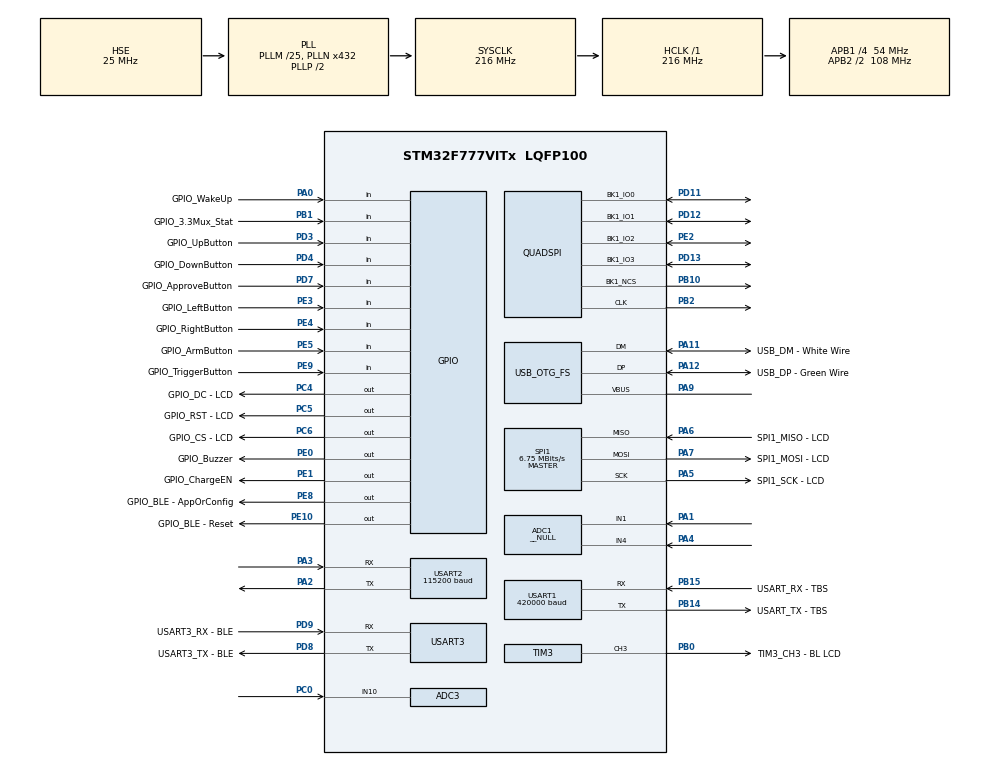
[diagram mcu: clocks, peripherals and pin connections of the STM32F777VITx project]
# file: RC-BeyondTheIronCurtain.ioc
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ADC1.Channel-0\#ChannelRegularConversion=ADC_CHANNEL_1
ADC1.ContinuousConvMode=DISABLE
ADC1.DMAContinuousRequests=DISABLE
ADC1.EOCSelection=ADC_EOC_SINGLE_CONV
ADC1.Mode=__NULL
ADC1.NbrOfConversion=1
ADC1.NbrOfConversionFlag=1
ADC1.Rank-0\#ChannelRegularConversion=1
ADC1.SamplingTime-0\#ChannelRegularConversion=ADC_SAMPLETIME_15CYCLES
ADC1.ScanConvMode=ADC_SCAN_ENABLE
ADC1.master=1
ADC3.Channel-2\#ChannelRegularConversion=ADC_CHANNEL_10
ADC3.EOCSelection=ADC_EOC_SINGLE_CONV
ADC3.NbrOfConversionFlag=1
ADC3.Rank-2\#ChannelRegularConversion=1
ADC3.SamplingTime-2\#ChannelRegularConversion=ADC_SAMPLETIME_15CYCLES
ADC3.ScanConvMode=ADC_SCAN_ENABLE
Dma.Request0=USART2_RX
Dma.Request1=USART3_RX
Dma.Request2=USART1_RX
Dma.USART1_RX.2.Direction=DMA_PERIPH_TO_MEMORY
Dma.USART1_RX.2.FIFOMode=DMA_FIFOMODE_DISABLE
Dma.USART1_RX.2.Instance=DMA2_Stream2
Dma.USART1_RX.2.MemDataAlignment=DMA_MDATAALIGN_BYTE
Dma.USART1_RX.2.MemInc=DMA_MINC_ENABLE
Dma.USART1_RX.2.Mode=DMA_CIRCULAR
Dma.USART1_RX.2.PeriphDataAlignment=DMA_PDATAALIGN_BYTE
Dma.USART1_RX.2.PeriphInc=DMA_PINC_DISABLE
Dma.USART1_RX.2.Priority=DMA_PRIORITY_VERY_HIGH
Dma.USART2_RX.0.Direction=DMA_PERIPH_TO_MEMORY
Dma.USART2_RX.0.FIFOMode=DMA_FIFOMODE_DISABLE
Dma.USART2_RX.0.Instance=DMA1_Stream5
Dma.USART2_RX.0.MemDataAlignment=DMA_MDATAALIGN_BYTE
Dma.USART2_RX.0.MemInc=DMA_MINC_ENABLE
Dma.USART2_RX.0.Mode=DMA_CIRCULAR
Dma.USART2_RX.0.PeriphDataAlignment=DMA_PDATAALIGN_BYTE
Dma.USART2_RX.0.PeriphInc=DMA_PINC_DISABLE
Dma.USART2_RX.0.Priority=DMA_PRIORITY_VERY_HIGH
Dma.USART3_RX.1.Direction=DMA_PERIPH_TO_MEMORY
Dma.USART3_RX.1.FIFOMode=DMA_FIFOMODE_DISABLE
Dma.USART3_RX.1.Instance=DMA1_Stream1
Dma.USART3_RX.1.MemDataAlignment=DMA_MDATAALIGN_BYTE
Dma.USART3_RX.1.MemInc=DMA_MINC_ENABLE
Dma.USART3_RX.1.Mode=DMA_CIRCULAR
Dma.USART3_RX.1.PeriphDataAlignment=DMA_PDATAALIGN_BYTE
Dma.USART3_RX.1.PeriphInc=DMA_PINC_DISABLE
Dma.USART3_RX.1.Priority=DMA_PRIORITY_LOW
FATFS._FS_EXFAT=1
FATFS._FS_RPATH=1
FATFS._MAX_SS=4096
FATFS._MIN_SS=4096
FATFS._USE_CHMOD=1
FATFS._USE_FIND=1
FATFS._USE_LABEL=1
FATFS._USE_LFN=1
Mcu.Family=STM32F7
Mcu.Name=STM32F777VITx
Mcu.Package=LQFP100
NVIC.ADC_IRQn=true\:0\:0\:false\:false\:true\:true\:true
NVIC.DMA1_Stream1_IRQn=true\:0\:0\:false\:false\:true\:false\:true
NVIC.DMA1_Stream5_IRQn=true\:0\:0\:false\:false\:true\:false\:true
NVIC.DMA2_Stream2_IRQn=true\:0\:0\:false\:false\:true\:false\:true
NVIC.FLASH_IRQn=true\:0\:0\:false\:false\:true\:true\:true
NVIC.OTG_FS_IRQn=true\:0\:0\:false\:false\:true\:false\:true
NVIC.PriorityGroup=NVIC_PRIORITYGROUP_4
NVIC.SPI1_IRQn=true\:0\:0\:false\:false\:true\:true\:true
NVIC.TIM3_IRQn=true\:0\:0\:false\:false\:true\:true\:true
NVIC.USART1_IRQn=true\:0\:0\:false\:false\:true\:true\:true
NVIC.USART3_IRQn=true\:0\:0\:false\:false\:true\:true\:true
PA0/WKUP.GPIO_Label=GPIO_WakeUp
PA0/WKUP.GPIO_PuPd=GPIO_PULLUP
PA0/WKUP.Signal=GPIO_Input
PA1.Signal=ADCx_IN1
PA11.GPIO_Label=USB_DM - White Wire
PA11.Mode=Device_Only
PA11.Signal=USB_OTG_FS_DM
PA12.GPIO_Label=USB_DP - Green Wire
PA12.Mode=Device_Only
PA12.Signal=USB_OTG_FS_DP
PA13.Mode=Serial_Wire
PA13.Signal=SYS_JTMS-SWDIO
PA14.Mode=Serial_Wire
PA14.Signal=SYS_JTCK-SWCLK
PA2.Mode=Asynchronous
PA2.Signal=USART2_TX
PA3.Mode=Asynchronous
PA3.Signal=USART2_RX
PA4.Signal=ADCx_IN4
PA5.GPIO_Label=SPI1_SCK - LCD
PA5.Mode=Full_Duplex_Master
PA5.Signal=SPI1_SCK
PA6.GPIO_Label=SPI1_MISO - LCD
PA6.Mode=Full_Duplex_Master
PA6.Signal=SPI1_MISO
PA7.GPIO_Label=SPI1_MOSI - LCD
PA7.Mode=Full_Duplex_Master
PA7.Signal=SPI1_MOSI
PA9.Mode=Activate_VBUS
PA9.Signal=USB_OTG_FS_VBUS
PB0.GPIO_Label=TIM3_CH3 - BL LCD
PB0.Signal=S_TIM3_CH3
PB1.GPIO_Label=GPIO_3.3Mux_Stat
PB1.Signal=GPIO_Input
PB10.Mode=Single Bank 1
PB10.Signal=QUADSPI_BK1_NCS
PB14.GPIO_Label=USART_TX - TBS
PB14.Mode=Asynchronous
PB14.Signal=USART1_TX
PB15.GPIO_Label=USART_RX - TBS
PB15.Mode=Asynchronous
PB15.Signal=USART1_RX
PB2.Mode=Single Bank 1
PB2.Signal=QUADSPI_CLK
PC0.Signal=ADCx_IN10
PC13.GPIO_Label=AntiTamper
PC13.Mode=SYS_WakeUp3
PC13.Signal=SYS_WKUP4
PC14/OSC32_IN.Mode=LSE-External-Oscillator
PC14/OSC32_IN.Signal=RCC_OSC32_IN
PC15/OSC32_OUT.Mode=LSE-External-Oscillator
PC15/OSC32_OUT.Signal=RCC_OSC32_OUT
PC4.GPIO_Label=GPIO_DC - LCD
PC4.Signal=GPIO_Output
PC5.GPIO_Label=GPIO_RST - LCD
PC5.Signal=GPIO_Output
PC6.GPIO_Label=GPIO_CS - LCD
PC6.Signal=GPIO_Output
PD11.Mode=Single Bank 1
PD11.Signal=QUADSPI_BK1_IO0
PD12.Mode=Single Bank 1
PD12.Signal=QUADSPI_BK1_IO1
PD13.Mode=Single Bank 1
PD13.Signal=QUADSPI_BK1_IO3
PD3.GPIO_Label=GPIO_UpButton
PD3.GPIO_PuPd=GPIO_PULLUP
PD3.Signal=GPIO_Input
PD4.GPIO_Label=GPIO_DownButton
PD4.GPIO_PuPd=GPIO_PULLUP
PD4.Signal=GPIO_Input
PD7.GPIO_Label=GPIO_ApproveButton
PD7.GPIO_PuPd=GPIO_PULLUP
PD7.Signal=GPIO_Input
PD8.GPIO_Label=USART3_TX - BLE
PD8.Mode=Asynchronous
PD8.Signal=USART3_TX
PD9.GPIO_Label=USART3_RX - BLE
PD9.Mode=Asynchronous
PD9.Signal=USART3_RX
PE0.GPIO_Label=GPIO_Buzzer
PE0.GPIO_PuPd=GPIO_PULLUP
PE0.Signal=GPIO_Output
PE1.GPIO_Label=GPIO_ChargeEN
PE1.GPIO_PuPd=GPIO_PULLUP
PE1.Signal=GPIO_Output
PE10.GPIO_Label=GPIO_BLE - Reset
PE10.GPIO_PuPd=GPIO_PULLUP
PE10.PinState=GPIO_PIN_SET
PE10.Signal=GPIO_Output
PE2.Mode=Single Bank 1
PE2.Signal=QUADSPI_BK1_IO2
PE3.GPIO_Label=GPIO_LeftButton
PE3.GPIO_PuPd=GPIO_PULLUP
PE3.Signal=GPIO_Input
PE4.GPIO_Label=GPIO_RightButton
PE4.GPIO_PuPd=GPIO_PULLUP
PE4.Signal=GPIO_Input
PE5.GPIO_Label=GPIO_ArmButton
PE5.GPIO_PuPd=GPIO_PULLUP
PE5.Signal=GPIO_Input
PE8.GPIO_Label=GPIO_BLE - AppOrConfig
PE8.GPIO_PuPd=GPIO_PULLUP
PE8.PinState=GPIO_PIN_SET
PE8.Signal=GPIO_Output
PE9.GPIO_Label=GPIO_TriggerButton
PE9.GPIO_PuPd=GPIO_PULLUP
PE9.Signal=GPIO_Input
PH0/OSC_IN.Mode=HSE-External-Oscillator
PH0/OSC_IN.Signal=RCC_OSC_IN
PH1/OSC_OUT.Mode=HSE-External-Oscillator
PH1/OSC_OUT.Signal=RCC_OSC_OUT
ProjectManager.HeapSize=0x2000
ProjectManager.StackSize=0x4000
ProjectManager.TargetToolchain=STM32CubeIDE
QUADSPI.ClockPrescaler=1
QUADSPI.FifoThreshold=32
QUADSPI.FlashSize=23
QUADSPI.SampleShifting=QSPI_SAMPLE_SHIFTING_HALFCYCLE
RCC.AHBFreq_Value=216000000
RCC.APB1CLKDivider=RCC_HCLK_DIV4
RCC.APB1Freq_Value=54000000
RCC.APB1TimFreq_Value=216000000
RCC.APB2CLKDivider=RCC_HCLK_DIV2
RCC.APB2Freq_Value=108000000
RCC.APB2TimFreq_Value=216000000
RCC.CortexFreq_Value=216000000
RCC.EnbaleCSS=true
RCC.HCLKFreq_Value=216000000
RCC.HSE_VALUE=25000000
RCC.HSI_VALUE=16000000
RCC.LSE_Timout=5000
RCC.PLLM=25
RCC.PLLN=432
RCC.PLLQ=9
RCC.PWR_Regulator_Voltage_Scale=PWR_REGULATOR_VOLTAGE_SCALE1
RCC.RCC_RTC_Clock_Source_FROM_HSE=RCC_RTCCLKSOURCE_HSE_DIV25
RCC.RCC_TIM_PRescaler_Selection=RCC_TIMPRES_ACTIVATED
RCC.RTCClockSelection=RCC_RTCCLKSOURCE_HSE_DIV25
RCC.SDMMCClockSelection=RCC_SDMMC1CLKSOURCE_CLK48
RCC.SYSCLKFreq_VALUE=216000000
RCC.SYSCLKSource=RCC_SYSCLKSOURCE_PLLCLK
RCC.USART2CLockSelection=RCC_USART2CLKSOURCE_SYSCLK
RCC.USBFreq_Value=48000000
RCC.VCOOutputFreq_Value=432000000
SH.ADCx_IN1.0=ADC1_IN1,IN1
SH.ADCx_IN10.0=ADC3_IN10,IN10
SH.ADCx_IN4.0=ADC2_IN4
SH.ADCx_IN4.1=ADC1_IN4,IN4
SH.S_TIM3_CH3.0=TIM3_CH3,PWM Generation3 CH3
SPI1.BaudRatePrescaler=SPI_BAUDRATEPRESCALER_16
SPI1.CalculateBaudRate=6.75 MBits/s
SPI1.DataSize=SPI_DATASIZE_8BIT
SPI1.Direction=SPI_DIRECTION_2LINES
SPI1.Mode=SPI_MODE_MASTER
SPI1.VirtualType=VM_MASTER
TIM3.AutoReloadPreload=TIM_AUTORELOAD_PRELOAD_ENABLE
TIM3.Channel-PWM\ Generation3\ CH3=TIM_CHANNEL_3
TIM3.Period=20000
TIM3.Prescaler=216
TIM3.Pulse-PWM\ Generation3\ CH3=20000
USART1.BaudRate=420000
USART1.DMADisableonRxErrorParam=ADVFEATURE_DMA_DISABLEONRXERROR
USART1.OverrunDisableParam=ADVFEATURE_OVERRUN_DISABLE
USART1.SwapParam=ADVFEATURE_SWAP_DISABLE
USART1.VirtualMode-Asynchronous=VM_ASYNC
USART2.BaudRate=115200
USART2.VirtualMode-Asynchronous=VM_ASYNC
USART3.SwapParam=ADVFEATURE_SWAP_ENABLE
USART3.VirtualMode-Asynchronous=VM_ASYNC
USB_DEVICE.CLASS_NAME_FS=CDC
USB_DEVICE.MANUFACTURER_STRING-CDC_FS=RainGrey LTD.
USB_DEVICE.PRODUCT_STRING_CDC_FS=Drone RC comPort
USB_DEVICE.USBD_MAX_NUM_CONFIGURATION-CDC_FS=3
USB_DEVICE.VirtualMode-CDC_FS=Cdc
USB_DEVICE.VirtualModeFS=Cdc_FS
USB_OTG_FS.VirtualMode=Device_Only
USB_OTG_FS.low_power_enable=DISABLE
USB_OTG_FS.lpm_enable=DISABLE
VP_FATFS_VS_Generic.Mode=User_defined
VP_RTC_VS_RTC_Activate.Mode=RTC_Enabled
VP_USB_DEVICE_VS_USB_DEVICE_CDC_FS.Mode=CDC_FS
board=custom

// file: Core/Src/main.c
/* USER CODE BEGIN Header */
/**
 ******************************************************************************
 * @file           : main.c
 * @brief          : Main program body
 ******************************************************************************
 * @attention
 *
 * <h2><center>&copy; Copyright (c) 2021 STMicroelectronics.
 * All rights reserved.</center></h2>
 *
 * This software component is licensed by ST under Ultimate Liberty license
 * SLA0044, the "License"; You may not use this file except in compliance with
 * the License. You may obtain a copy of the License at:
 *                             www.st.com/SLA0044
 *
 ******************************************************************************
 */
/* USER CODE END Header */
#include "main.h"
#include "adc.h"
#include "dma.h"
#include "fatfs.h"
#include "quadspi.h"
#include "rtc.h"
#include "tim.h"
#include "usart.h"
#include "usb_device.h"
#include "gpio.h"

/* USER CODE BEGIN Includes */
#include "stdio.h"
#include "string.h"
#include "stdint.h"
#include "math.h"
#include "ff.h"
#include "PushButton.h"
#include "TBSAgent.h"
#include "GUI_Paint.h"
#include "fonts.h"
#include "image.h"
#include "BatteryImages.h"
#include "LogoImages.h"
#include "LocationImages.h"
#include "AutoPilotImages.h"
#include "SignalImages.h"
#include "SafeAirImages.h"
#include "BluetoothImages.h"
#include "PlatformImages.h"
#include "UniqueImages.h"
//#include "LCD_Test.h"
#include "stm32746g_qspi.h"
#include "w25q128fv.h"
//#include "LCD_1in8.h"
#include "LCD_2inch4.h"
#include "BootLoader.h"
#include "crc.h"
#include "ScreenSaverImages.h"
/* USER CODE END Includes */

/* USER CODE BEGIN PD */
#define __USE_BOOT_LOADER__
/* USER CODE END PD */

/* USER CODE BEGIN PV */
char terminalBuffer[terminalRXBufferSize] = {0};
//char *ttt;

float fwVersion = 1.000;
float buildID = 1.000;

SYSTEMState rcState = PREINIT;

bool isLowBattery = false;
bool isEmptyBattery = false;
bool isUSBConnected = false;
bool isMSCMode = false;
bool isSignalLow = false;
bool isNoSignal = false;
bool shouldUpdateStatusText = true;
bool shouldRedrawBatteryIcon = true;
bool shouldRedrawSignalStrengthIcon = true;
bool shouldDrawRedAlertIcon = false;
bool shouldReDrawPlatformIcon = true;
bool shouldUpdatePlatformText = true;
bool shouldReDrawAutoPilotIcon = true;
bool shouldReDrawBluetoothIcon = true;
bool shouldReDrawTriggerModeIcon = true;
bool shouldClearDisplayedWarning = true;
bool forceDisarmEnabled = false;
bool formatSDEnabled = false;
bool waitForAckResponse = false;
bool shouldRedrawSafeAirBatteryIcon = true;
bool isScreenBrightFull = true;
bool shouldDrawSafeAirAltitude = true;
bool testMotorCut = false;
bool isDisableButtonDetection = false;
bool isFirstCycleAfterUSBDisconnection = false;

uint16_t fullFrameDelay = 5000;

uint32_t UID1 = 0;
uint32_t UID2 = 0;
uint32_t UID3 = 0;
uint32_t A[9] = {0};
uint32_t lastScreenUpdate = 0;
uint32_t lastLogEntry = 0;
uint32_t lastOpModeCycle = 0;

SYSTEMConnectionStatus bluetoothConnection = DISCONNECTED;

SIGNALStrength tbsLink = NOSIGNAL;
SIGNALStrength batteryStrength = STRONG;

tCURSOR_DATA currentCursorPosition;

tWarning displayWarning;

float batteryVoltage = 4.25;
float chargingMaxValue = 0;
float previousBatteryVoltage = 0;

unsigned int BytesWritten = 0;

RTC_TimeTypeDef sTime;
RTC_DateTypeDef sDate;

tGPSPOSITION lastKnownPosition;

/* USER CODE END PV */

void SystemClock_Config(void);
void PeriphCommonClock_Config(void);

int main(void)
{
  /* USER CODE BEGIN 1 */
#ifdef __USE_BOOT_LOADER__
// 	SCB->VTOR = 0x8020000; /* NVIC Vector Table Relocation in Internal FLASH */
#endif
  /* USER CODE END 1 */

  /* MCU Configuration--------------------------------------------------------*/

  /* Reset of all peripherals, Initializes the Flash interface and the Systick. */
  HAL_Init();

  /* USER CODE BEGIN Init */
	RCC_OscInitTypeDef RCC_test = {0};
	HAL_RCC_GetOscConfig(&RCC_test);

	if (RCC_test.HSEState == 0x10000)
	{
		//	  __HAL_RCC_SYSCLK_CONFIG(4);
		HAL_RCC_DeInit();
	}
  /* USER CODE END Init */

  /* Configure the system clock */
  SystemClock_Config();

/* Configure the peripherals common clocks */
  PeriphCommonClock_Config();

  /* Initialize all configured peripherals */
  MX_GPIO_Init();
  MX_DMA_Init();
  MX_FATFS_Init();
  MX_QUADSPI_Init();
  MX_SPI1_Init();
  MX_USB_DEVICE_Init();
  MX_ADC1_Init();
  MX_TIM3_Init();
  MX_USART1_UART_Init();
  MX_USART3_UART_Init();
  MX_RTC_Init();
  MX_ADC3_Init();
  MX_USART2_UART_Init();
  /* USER CODE BEGIN 2 */

	UID1 = (*(__I uint32_t *) 0x1FF0F420);
	UID2 = (*(__I uint32_t *) 0x1FF0F424);
	UID3 = (*(__I uint32_t *) 0x1FF0F428);

//  uint32_t bootloaderLength = sizeof(Array) / sizeof(char);
//  crc currentBL = F_CRC_CalculaCheckSumFromFlash(0x08000000, bootloaderLength);
//  crc includedBL = F_CRC_CalculaCheckSum(Array, bootloaderLength);

//  if (currentBL != includedBL)
//  {
//    localFlashParams.startAddress = 0x08000000;
//    localFlashParams.voltageLevel = FLASH_VOLTAGE_RANGE_3;
//   reallocateDataFromArray(Array, 0x08000000, bootloaderLength);
//  }

  BSP_QSPI_Init();

	// HAL_Delay(1000);

	fileSystemInit();
	createNewLogFile();

	ee_init1((pU32)&ee, sizeof(ee));
	sprintf(ee.password, "1234");
	if (!ee_validate1())
	{
		sprintf(terminalBuffer,"EEPROM1 Error, set default values");
		logData(terminalBuffer, true, false, false);
		ee_save1();
	}
	ee.rcMode = 0;
	safeairConfiguration.MTD = 0;

	if (ee.legacySystemType != 0)
	{
//		isLegacyDronePlatform = true;
//		currentSmaStatus.smaPlatformName = ee.legacySystemType;
	}

	initMenuPages();
	initMenuItems();
	initPopupMessages();
	initBuzzerPatterns();

	channelPWMValues[0] =  ((ee.armPWMOffValue - 1500) * 2);
	channelPWMValues[1] = ((ee.triggerPWMOffValue - 1500) * 2);
	CheckButtons();

	rcState = INIT;
	rcLinkStatus.UplinkRSSIAnt1 = 0xFF;
	rcLinkStatus.UplinkRSSIAnt2 = 0xFF;
	tbsLink = NOSIGNAL;

	measureVoltages(true);

	printRCConfiguration(false);

	screenInit();
	nextPattern = &testBuzzerPattern;
	setBuzzerPattern(*nextPattern);
	screenClear();
	renderCompleteFrame = true;
	CheckButtons();
	createEmptyFrame(false, false);

//	createPingMessage();
//	nextPattern = &noBuzzerPattern;
//	setBuzzerPattern(*nextPattern);

	initBLE();

	currentCursorPosition.cursorPosition = 0;
	currentCursorPosition.menuDepth = 0;
	measureVoltages(true);
//	if ( (tbsLink == NOSIGNAL) && (isChargingMode) )
//	{
//		memcpy(&popupToShow, &tbsInChargeModeMessage, sizeof(popupToShow));
//		waitForPopupInput();
//	}
	if ( (tbsLink == NOSIGNAL) && (!isChargingMode) )
	{
		memcpy(&popupToShow, &noConnectionMessage, sizeof(popupToShow));
		waitForPopupInput();
	}

	/* Debug Init */

  /* USER CODE END 2 */

  /* Infinite loop */
  /* USER CODE BEGIN WHILE */

	while (1)
	{
		if (!isChargingMode)
		{
			CheckButtons();
			waitForPopupInput();
			sendChannelMessageToTBS();
			HAL_UART_Receive_DMA(&TBS_UART, tbsRXArray,TBS_RX_BUFFER);
			HAL_Delay(2);
			parseTBSMessage();
			updateRCState();
			monitorLogSize();
			readUSBData();
			checkBLEMessages();
			lastOpModeCycle = HAL_GetTick();
		}
		if (!renderCompleteFrame)
		{
			if (HAL_GetTick() - lastScreenUpdate > 100)
			{
				screenUpdate(true);
				lastScreenUpdate = HAL_GetTick();
			}
		}
		else
		{
			if (!isChargingMode)
			{
				if ( (HAL_GetTick() - lastFullFrameDisplayed > fullFrameDelay) && (!isMenuDisplayed) && (!isPopupDisplayed) )
				{
					createEmptyFrame(false, true);
					setFullDisplay();
					screenUpdate(false);
					updateBITStatus();
					lastFullFrameDisplayed = HAL_GetTick();
				}
				else
				{
					screenUpdate(true);
				}
			}
			else
			{
				CheckButtons();
				UpdateScreenBrightness(isScreenBrightFull);
				createEmptyFrame(false, false);
				setIconPositionOnScreen();
				Paint_DrawImage(gImage_ChargingMode, ChargingModeImageX, ChargingModeImageY, 43, 86);
				char localText[12] = "";
				chargingMaxValue = fmax(chargingMaxValue, batteryVoltage);
				int8_t localPercent = convertVoltageToPercent(chargingMaxValue);
				if (previousBatteryCharge > localPercent)
				{
					previousBatteryCharge = localPercent;
					lastChangeInMeasurement = HAL_GetTick();
				}

				if (localPercent > 100)
				{
					localPercent = 100;
				}
				else if (localPercent < 0)
				{
					localPercent = 0;
				}

				sprintf(localText, "%03d%%", localPercent);
				centeredString(ChargingModePercentTextX, ChargingModePercentTextY, localText, BLACK, BACKGROUND, 14, Font16);
				if (localPercent != 100)
				{
					centeredString(ChargingModePercentTextX, ChargingModeImageY - 24, "Charging", BLACK, BACKGROUND, 14, Font16);
					drawChargingDots();
				}
				else
				{
					centeredString(ChargingModePercentTextX, ChargingModeImageY - 24, "Charged", BLACK, BACKGROUND, 14, Font16);
				}

				if ((HAL_GetTick() - lastAnyButtonPress > 30*1000) && ( HAL_GetTick() - lastOpModeCycle > 30*1000) )
				{
					drawScreenSaver();
				}
			}
			updateNextFrame();
		}
		updateBuzzerStatus();
		checkChargerMux();
		if (isFirstCycleAfterUSBDisconnection)
		{
			measureVoltages(true);
			isFirstCycleAfterUSBDisconnection = false;
		}
		else
		{
			measureVoltages(false);
		}

    /* USER CODE END WHILE */

	}
}

void SystemClock_Config(void)
{
  RCC_OscInitTypeDef RCC_OscInitStruct = {0};
  RCC_ClkInitTypeDef RCC_ClkInitStruct = {0};

  /** Configure LSE Drive Capability
  */
  HAL_PWR_EnableBkUpAccess();
  /** Configure the main internal regulator output voltage
  */
  __HAL_RCC_PWR_CLK_ENABLE();
  __HAL_PWR_VOLTAGESCALING_CONFIG(PWR_REGULATOR_VOLTAGE_SCALE1);
  /** Initializes the RCC Oscillators according to the specified parameters
  * in the RCC_OscInitTypeDef structure.
  */
  RCC_OscInitStruct.OscillatorType = RCC_OSCILLATORTYPE_HSE;
  RCC_OscInitStruct.HSEState = RCC_HSE_ON;
  RCC_OscInitStruct.PLL.PLLState = RCC_PLL_ON;
  RCC_OscInitStruct.PLL.PLLSource = RCC_PLLSOURCE_HSE;
  RCC_OscInitStruct.PLL.PLLM = 25;
  RCC_OscInitStruct.PLL.PLLN = 432;
  RCC_OscInitStruct.PLL.PLLP = RCC_PLLP_DIV2;
  RCC_OscInitStruct.PLL.PLLQ = 9;
  RCC_OscInitStruct.PLL.PLLR = 2;
  if (HAL_RCC_OscConfig(&RCC_OscInitStruct) != HAL_OK)
  {
    Error_Handler();
  }
  /** Activate the Over-Drive mode
  */
  if (HAL_PWREx_EnableOverDrive() != HAL_OK)
  {
    Error_Handler();
  }
  /** Initializes the CPU, AHB and APB buses clocks
  */
  RCC_ClkInitStruct.ClockType = RCC_CLOCKTYPE_HCLK|RCC_CLOCKTYPE_SYSCLK
                              |RCC_CLOCKTYPE_PCLK1|RCC_CLOCKTYPE_PCLK2;
  RCC_ClkInitStruct.SYSCLKSource = RCC_SYSCLKSOURCE_PLLCLK;
  RCC_ClkInitStruct.AHBCLKDivider = RCC_SYSCLK_DIV1;
  RCC_ClkInitStruct.APB1CLKDivider = RCC_HCLK_DIV4;
  RCC_ClkInitStruct.APB2CLKDivider = RCC_HCLK_DIV2;

  if (HAL_RCC_ClockConfig(&RCC_ClkInitStruct, FLASH_LATENCY_7) != HAL_OK)
  {
    Error_Handler();
  }
  /** Enables the Clock Security System
  */
  HAL_RCC_EnableCSS();
}

void PeriphCommonClock_Config(void)
{
  RCC_PeriphCLKInitTypeDef PeriphClkInitStruct = {0};

  /** Initializes the peripherals clock
  */
  PeriphClkInitStruct.PeriphClockSelection = RCC_PERIPHCLK_TIM;
  PeriphClkInitStruct.TIMPresSelection = RCC_TIMPRES_ACTIVATED;

  if (HAL_RCCEx_PeriphCLKConfig(&PeriphClkInitStruct) != HAL_OK)
  {
    Error_Handler();
  }
}

/* USER CODE BEGIN 4 */

void UpdateScreenBrightness(bool screenBrightfullnessLevel)
{
	if ( (screenBrightfullnessLevel) && (HAL_GetTick() - lastAnyButtonPress > 120000) )
	{
		LCD_2IN4_SetBackLight(4000);
		//		LCD_1IN8_SetBackLight(ee.backLight);
		isScreenBrightFull = false;
	}
	else if ( (!screenBrightfullnessLevel)
			&& (HAL_GetTick() - lastAnyButtonPress < 2000) )
	{
		LCD_2IN4_SetBackLight(ee.backLight * 2000);
		isScreenBrightFull = true;
		isDisableButtonDetection = true;
	}
}

void updateRCState(void)
{
	if ( (rcState == INIT) && (!isNoSignal) )
	{
		rcState = OPERATIONAL;
	}
	else if ( (rcState == OPERATIONAL) && (isNoSignal) )
	{
		rcState = INIT;
	}

	if  ( (isUSBConnected) )
	{
		if ( (batteryStrength != CHARGING) )
		{
			isLowBattery = false;
			isEmptyBattery = false;
			shouldRedrawBatteryIcon = true;
			batteryStrength = CHARGING;
			displayWarning.BITStatus &= ~rcLowBat;
		}
	}
	else
	{
		if ( (batteryVoltage <= 3.65) && ( (batteryStrength < EMPTY) || (batteryStrength == CHARGING)) )
		{
			isLowBattery = true;
			isEmptyBattery = true;
			shouldRedrawBatteryIcon = true;
			batteryStrength = EMPTY;
			displayWarning.BITStatus |= rcLowBat;
			sprintf(terminalBuffer,"RC Battery is Empty");
			logData(terminalBuffer, false, false, false);
		}
		else if ( (batteryVoltage > 3.65) && (batteryVoltage <= 3.8) && ( (batteryStrength < LOW) || (batteryStrength == CHARGING)) )
		{
			shouldRedrawBatteryIcon = true;
			batteryStrength = LOW;
			displayWarning.BITStatus |= rcLowBat;
			sprintf(terminalBuffer,"RC Battery is Low");
			logData(terminalBuffer, false, false, false);
		}
		else if ( (batteryVoltage > 3.8) && (batteryVoltage <= 3.9) && ( (batteryStrength < MEDIUM) || (batteryStrength == CHARGING)) )
		{
			shouldRedrawBatteryIcon = true;
			batteryStrength = MEDIUM;
			displayWarning.BITStatus &= ~rcLowBat;
			sprintf(terminalBuffer,"RC Battery is Partially Full");
			logData(terminalBuffer, false, false, false);
		}
		else if ( (batteryVoltage > 3.9) && ( (batteryStrength != STRONG) || (batteryStrength == CHARGING)) )
		{
			shouldRedrawBatteryIcon = true;
			batteryStrength = STRONG;
			displayWarning.BITStatus &= ~rcLowBat;
			sprintf(terminalBuffer,"RC Battery is Full");
			logData(terminalBuffer, false, false, false);
		}
	}

	if ( (HAL_GetTick() - lastReceivedCRSFMessage > 3000) && (!isTBSDisconnected) )
	{
		isNoSignal = true;
		shouldRedrawSignalStrengthIcon = true;
		tbsLink = NOSIGNAL;
		everReceivedConfigurationMessage = false;
		isTBSDisconnected = true;
		rcLinkStatus.DownlinkPSRLQ = 0;
		rcLinkStatus.UplinkRSSIAnt1 = 0xFF;
		rcLinkStatus.UplinkRSSIAnt2 = 0xFF;
		if (!isLegacyDronePlatform)
		{
//			currentSmaStatus.smaPlatformName = NOPLATFORM;
//			currentSmaStatus.smaState = UNKNOWN;
		}
		sprintf(terminalBuffer,"No connection with TBS TX");
		logData(terminalBuffer, true, false, false);
	}
	else if ( (rcLinkStatus.UplinkRSSIAnt1 == 0xFF) && (rcLinkStatus.UplinkRSSIAnt2 == 0xFF) )
	{
		if (tbsLink != NOSIGNAL)
		{
			isNoSignal = true;
			everReceivedConfigurationMessage = false;
			shouldRedrawSignalStrengthIcon = true;
			tbsLink = NOSIGNAL;
			rcLinkStatus.DownlinkPSRLQ = 0;
			logRCLinkStatus(true);
		}
	}
	else if ( (rcLinkStatus.DownlinkPSRLQ <= 50) && (tbsLink != LOW) )
	{
		isNoSignal = false;
		isSignalLow = true;
		shouldRedrawSignalStrengthIcon = true;
		tbsLink = LOW;
		logRCLinkStatus(true);
	}
	else if ( (rcLinkStatus.DownlinkPSRLQ > 50) && (rcLinkStatus.DownlinkPSRLQ <= 75) && (tbsLink != MEDIUM) )
	{
		isNoSignal = false;
		isSignalLow = true;
		shouldRedrawSignalStrengthIcon = true;
		tbsLink = MEDIUM;
		logRCLinkStatus(true);
	}
	else if ( (rcLinkStatus.DownlinkPSRLQ > 75) && (tbsLink != STRONG) )
	{
		isNoSignal = false;
		isSignalLow = false;
		shouldRedrawSignalStrengthIcon = true;
		tbsLink = STRONG;
		logRCLinkStatus(true);
	}

//	if (previousSmaStatus.smaPlatfom != currentSmaStatus.smaPlatfom)
//	{
//		shouldReDrawPlatformIcon = true;
//	}
//	else
//	{
//		shouldReDrawPlatformIcon = false;
//	}

//	if (previousSmaStatus.smaPlatformName != currentSmaStatus.smaPlatformName)
//	{
//		shouldUpdatePlatformText = true;
//	}
//	else
//	{
//		shouldUpdatePlatformText = false;
//	}

//	if ( ( ((displayWarning.BITStatus != previousBITStatus) && (displayWarning.BITStatus != 0x00)) ||
//			( ((batteryStrength == LOW) || (batteryStrength == EMPTY)) && (shouldRedrawBatteryIcon) ) )
//			&& (currentSmaStatus.smaState != TRIGGERED) )
//	{
//		displayWarning.displayWarning = true;
//		shouldDrawRedAlertIcon = true;
//		shouldUpdateStatusText = true;
//		if (displayWarning.BITStatus != 0x00)
//		{
//			previousBITStatus = displayWarning.BITStatus;
//		}
//	}
//	else if ( ( (currentSmaStatus.smaState == IDLE) || (currentSmaStatus.smaState == ARMED) )
//			&& (displayWarning.BITStatus == 0) && (previousBITStatus != 0) )
//	{
//		shouldUpdateStatusText = true;
//		shouldClearDisplayedWarning = true;
//		displayWarning.displayWarning = false;
//	}
//	else
//	{
//		//		displayWarning.displayWarning = false;
//	}

//	if (previousSmaStatus.isAutoPilotConnected != currentSmaStatus.isAutoPilotConnected)
//	{
//		shouldReDrawAutoPilotIcon = true;
//	}
//	else
//	{
//		shouldReDrawAutoPilotIcon = false;
//	}
//
//	if (previousSmaStatus.safeairTriggerMode != currentSmaStatus.safeairTriggerMode)
//	{
//		shouldReDrawTriggerModeIcon = true;
//	}
//	else
//	{
//		shouldReDrawTriggerModeIcon = false;
//	}
//
//
//
//	if ( (currentSmaStatus.smaState == 0x4) && (previousSmaStatus.smaState != UNKNOWN) )
//	{
//		//Sound SMA Error
//		previousSmaStatus.smaState = UNKNOWN;
//		shouldUpdateStatusText = true;
//	}
//	else if ( (currentSmaStatus.smaState == 0x05) && (previousSmaStatus.smaState != MAINTENANCE) )
//	{
//		//Sound SMA Maintenance?
//		previousSmaStatus.smaState = MAINTENANCE;
//		shouldUpdateStatusText = true;
//	}
//	else if (currentSmaStatus.smaState == 0x03)
//	{
//		//Sound SMA triggered
//		if (previousSmaStatus.smaState != TRIGGERED)
//		{
//			previousSmaStatus.smaState = TRIGGERED;
//			shouldUpdateStatusText = true;
//		}
//		nextPattern = &triggeredSafeAirPattern;
//	}
//	else if ( (currentSmaStatus.smaState == 0x02) && (previousSmaStatus.smaState != ARMED) )
//	{
//		//Sound SMA Armed
//		previousSmaStatus.smaState = ARMED;
//		nextPattern = &armedBuzzerPattern;
//		shouldUpdateStatusText = true;
//	}
//	else if ( (currentSmaStatus.smaState == 0x01) && (previousSmaStatus.smaState != IDLE) )
//	{
//		if (isBuzzerCycleEnded)
//		{
//			//Sound SMA Disarmed
//			nextPattern = &idleBuzzerPattern;
//			previousSmaStatus.smaState = IDLE;
//			shouldUpdateStatusText = true;
//		}
//	}
//	else if (currentSmaStatus.batteryVoltage <= 3.5)
//	{
//		//Sound SMA low battery
//	}
//	else if (isNoSignal)
//	{
//		//Sound no Link
//		nextPattern = &noTelemetryPattern;
//	}
//	else if (isSignalLow)
//	{
//		//Sound Low signal
//		nextPattern = &lowTelemetryPattern;
//	}
//	else if (isLowBattery)
//	{
//		// Sound low RC battery
//		nextPattern = &lowRCBatteryPattern;
//	}
//	else
//	{
//		//Sound nothing
//		nextPattern = &noBuzzerPattern;
//	}
	if (isBuzzerCycleEnded)
	{
		setBuzzerPattern(*nextPattern);
	}

	UpdateScreenBrightness(isScreenBrightFull);

	if ( (shouldUpdateStatusText  || shouldReDrawTriggerModeIcon || shouldReDrawAutoPilotIcon || shouldRedrawBatteryIcon
			|| shouldUpdatePlatformText || shouldReDrawPlatformIcon ) && (HAL_GetTick() - lastLogEntry > 50) )// || shouldDrawRedAlertIcon
	{
//		sprintf(terminalBuffer,"SMA, %d, %d, %6.3f, %6.3f, %6.3f",currentSmaStatus.smaState, currentSmaStatus.triggerMode,
//				currentSmaStatus.batteryVoltage, currentSmaStatus.Altitude, currentSmaStatus.Acceleration);
//		logData(terminalBuffer, true, false, false);
		lastLogEntry = HAL_GetTick();
	}

	if (fabs(batteryVoltage - previousBatteryVoltage) > 0.1)
	{
		sprintf(terminalBuffer,"RC Battery voltage: %6.3f V", batteryVoltage);
		logData(terminalBuffer, true, false, false);
		previousBatteryVoltage = batteryVoltage;
	}

}

/* USER CODE END 4 */

void Error_Handler(void)
{
	__disable_irq();
	while (1)
	{
	}
}
